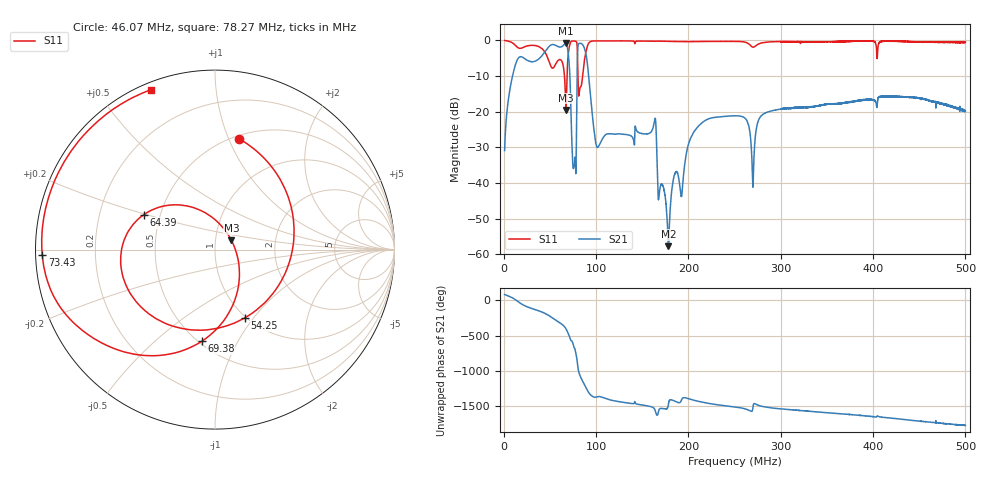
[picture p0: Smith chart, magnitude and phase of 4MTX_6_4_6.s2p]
! NanoVNA-App
! Date: 2026-08-18 21:47:31
! Start: 1MHz Stop: 500MHz Points: 6401
! S-Parameter data: F S11 S21 S12 S22
# Hz S RI R 50
!  Frequency  S11_Real  S11_Imag  S21_Real  S21_Imag  S12_Real  S12_Imag  S22_Real  S22_Imag
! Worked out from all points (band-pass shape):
!   6401 points, 1 MHz to 500 MHz, reference 50 ohm
!   highest |S21| = -0.88 dB at 67.12 MHz (marker M1); lowest = -57.7 dB at 178.5 MHz (marker M2)
!   |S21| within 3 dB of the highest: 42.88 MHz to 69.94 MHz (27.07 MHz wide, 48 % of centre); 79.95 MHz to 89.06 MHz (9.109 MHz wide, 10.8 % of centre)
!   lowest |S11| = -19.6 dB at 67.43 MHz (marker M3), VSWR 1.24, Z = 59.7 + j6.3 ohm
!   |S11| at or under -10 dB: 65.8 MHz to 68.58 MHz (2.78 MHz wide, 4.14 % of centre); 80.41 MHz to 85.45 MHz (5.041 MHz wide, 6.08 % of centre)
!   S12 and S22 are empty: the file has one direction only
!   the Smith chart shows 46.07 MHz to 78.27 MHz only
!   S11 on the Smith chart (normalised r, x): 46.07 MHz: 0.54, +1.09; 54.25 MHz: 0.98, -0.91; 64.39 MHz: 0.40, +0.19; 69.38 MHz: 0.52, -0.72; 73.43 MHz: 0.02, -0.02; 78.27 MHz: 0.03, +0.68
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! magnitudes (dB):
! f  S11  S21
! 1 MHz  -0.1  -30.9
! 14.49 MHz  -1.9  -5.6
! 46.07 MHz  -4.0  -2.7
! 54.25 MHz  -7.6  -1.3
! 64.39 MHz  -7.1  -1.5
! 67.12 MHz  -17.8  -0.9
! 67.43 MHz  -19.6  -0.9
! 69.38 MHz  -5.7  -2.7
! 73.43 MHz  -0.3  -25.6
! 76.16 MHz  -0.3  -35.4
! 78.27 MHz  -0.4  -36.7
! 84.19 MHz  -12.6  -1.0
! 101.2 MHz  -0.2  -30.0
! 162.7 MHz  -0.3  -23.6
! 167.4 MHz  -0.3  -44.0
! 178.5 MHz  -0.3  -57.7
! 205.7 MHz  -0.4  -25.8
! 250.5 MHz  -0.4  -21.2
! 269.9 MHz  -2.0  -41.1
! 333.7 MHz  -0.5  -18.8
! 416.9 MHz  -0.3  -15.8
! 500 MHz  -0.6  -19.9
